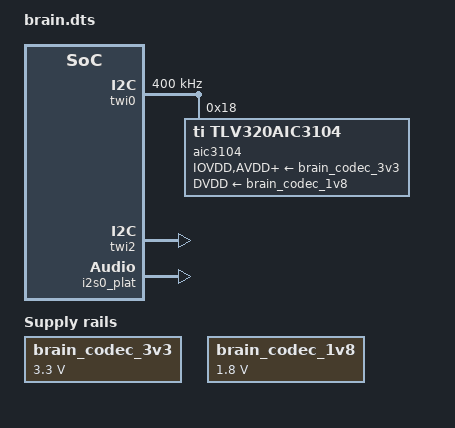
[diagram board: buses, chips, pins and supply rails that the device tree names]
/*
 * The brain: Orange Pi Zero 3W (Allwinner A733, sun60iw2) with the Robot HAT E1
 * (https://code.caric.io/Robotics/elec_RPI_Robot_HAT) in the DuckBuddy's head.
 *
 * Header wiring of the Robot HAT E1:
 *   TWI0:  PB3 SDA pin 3, PB2 SCL pin 5   codec 0x18, INA226 0x45, LSM6DSV16X 0x6A,
 *                                          Qwiic J5 (body IMU, BNO055 0x28)
 *   TWI2:  PE2 SDA pin 19, PE1 SCL pin 23 Qwiic J8 (head ToF, VL53L5CX 0x29)
 *   I2S0:  PB5 BCLK pin 12, PB6 LRCK pin 35, PB7 DOUT pin 40, PB8 DIN pin 38
 *   UART0: PB9 TX pin 8, PB10 RX pin 10   servo bus (TX sets the bus direction on the HAT)
 *
 * Board notes:
 *   - The codec has its own 12 MHz oscillator. PB4 (pin 7) goes to the HAT's
 *     Qwiic J6, so it is not muxed as I2S0 MCLK. The machine driver still tells
 *     the codec its MCLK (mclk-fs = 1, mclk-fp = 12 MHz), so the codec PLL is set
 *     from 12 MHz.
 *   - The codec reset is an RC on the HAT: no reset GPIO. The PAM8406 amp is
 *     always on: no amp GPIO.
 *   - The sound card is its own node ("aic3104"). The stock i2s0_mach node is
 *     made for an AC101 codec and has pin switches for AC101 widgets, so it stays
 *     disabled.
 *   - UART0 pin groups are empty in the base DTB (U-Boot muxes the console), so
 *     this overlay gives Linux the pins. The apb-uart clock (shared by all UARTs)
 *     moves from 24 MHz to pll-peri0-480m / 5 = 96 MHz, so both 1 Mbit/s (factory
 *     servos, 96M/16/6) and 500 kbit/s (robotd, 96M/16/12) are exact; the
 *     Bluetooth UART1 at 1.5M is 96M/16/4. The sunxi UART driver logs "baud
 *     500000 beyond rance": only a log line, the rate is still set. Clock IDs from
 *     sun60iw2-ccu.h: CLK_APB_UART 46, CLK_PLL_PERI0_480M 5.
 */
/dts-v1/;
/plugin/;

/ {
	compatible = "allwinner,sun60iw2";

	fragment@0 {
		target-path = "/";

		__overlay__ {
			brain_codec_3v3: brain-codec-3v3 {
				compatible = "regulator-fixed";
				regulator-name = "brain-codec-3v3";
				regulator-min-microvolt = <3300000>;
				regulator-max-microvolt = <3300000>;
				regulator-always-on;
			};

			brain_codec_1v8: brain-codec-1v8 {
				compatible = "regulator-fixed";
				regulator-name = "brain-codec-1v8";
				regulator-min-microvolt = <1800000>;
				regulator-max-microvolt = <1800000>;
				regulator-always-on;
			};
		};
	};

	fragment@1 {
		target = <&twi0>;

		__overlay__ {
			#address-cells = <1>;
			#size-cells = <0>;
			status = "okay";
			twi_drv_used = <1>;
			/* 400 kHz: the BNO055's maximum; robotd reads it 200 times a second. */
			clock-frequency = <400000>;

			aic3104: codec@18 {
				compatible = "ti,tlv320aic3104";
				reg = <0x18>;
				#sound-dai-cells = <0>;
				/* MICBIAS stays off: the MEMS mic runs from 3V3. */
				IOVDD-supply = <&brain_codec_3v3>;
				DVDD-supply = <&brain_codec_1v8>;
				AVDD-supply = <&brain_codec_3v3>;
				DRVDD-supply = <&brain_codec_3v3>;
				status = "okay";
			};
		};
	};

	/* Qwiic J8: the head ToF (/dev/i2c-2). */
	fragment@2 {
		target = <&twi2>;

		__overlay__ {
			status = "okay";
			twi_drv_used = <1>;
		};
	};

	fragment@3 {
		target = <&i2s0_plat>;

		__overlay__ {
			/*
			 * No i2s0_pins_a (PB4 MCLK). "sleep" is the same pin set: the sunxi
			 * driver selects "sleep" when either stream closes, even while the
			 * other still runs, and the stock sleep state stops BCLK/LRCK to the
			 * codec (an open capture then reads zeros) and takes PB4.
			 */
			pinctrl-0 = <&i2s0_pins_b &i2s0_pins_c &i2s0_pins_d &i2s0_pins_e>;
			pinctrl-1 = <&i2s0_pins_b &i2s0_pins_c &i2s0_pins_d &i2s0_pins_e>;
			status = "okay";
		};
	};

	fragment@4 {
		target = <&i2s0_mach>;

		__overlay__ {
			status = "disabled";
		};
	};

	fragment@5 {
		target-path = "/soc@3000000";

		__overlay__ {
			brain_sound: brain_sound {
				compatible = "allwinner,sunxi-snd-mach";
				soundcard-mach,name = "aic3104";
				soundcard-mach,format = "i2s";
				soundcard-mach,frame-master = <&brain_sound_cpu>;
				soundcard-mach,bitclock-master = <&brain_sound_cpu>;
				soundcard-mach,slot-num = <2>;
				soundcard-mach,slot-width = <32>;
				soundcard-mach,jack-support = <0>;
				soundcard-mach,widgets =
					"Speaker", "Speaker",
					"Microphone", "Onboard Mic";
				/*
				 * The speaker (J1) is on the amp's right input, fed by
				 * RIGHT_LOP; LEFT_LOP goes to test points only. The onboard
				 * MEMS mic is on MIC2R; MIC2L is tied to ground.
				 */
				soundcard-mach,routing =
					"Speaker", "LLOUT",
					"Speaker", "RLOUT",
					"MIC2R", "Onboard Mic";
				status = "okay";

				brain_sound_cpu: soundcard-mach,cpu {
					sound-dai = <&i2s0_plat>;
					soundcard-mach,pll-fs = <1>;
					/* The codec's MCLK: the 12 MHz oscillator on the HAT. */
					soundcard-mach,mclk-fs = <1>;
					soundcard-mach,mclk-fp = <12000000 12000000>;
				};

				soundcard-mach,codec {
					sound-dai = <&aic3104>;
				};
			};
		};
	};

	fragment@6 {
		target = <&uart0>;

		__overlay__ {
			assigned-clocks = <&ccu 46>;
			assigned-clock-parents = <&ccu 5>;
			assigned-clock-rates = <96000000>;
		};
	};

	fragment@7 {
		target = <&uart0_pins_active>;

		__overlay__ {
			pins = "PB9", "PB10";
			function = "uart0";
		};
	};

	fragment@8 {
		target = <&uart0_pins_sleep>;

		__overlay__ {
			pins = "PB9", "PB10";
			function = "gpio_in";
		};
	};
};
